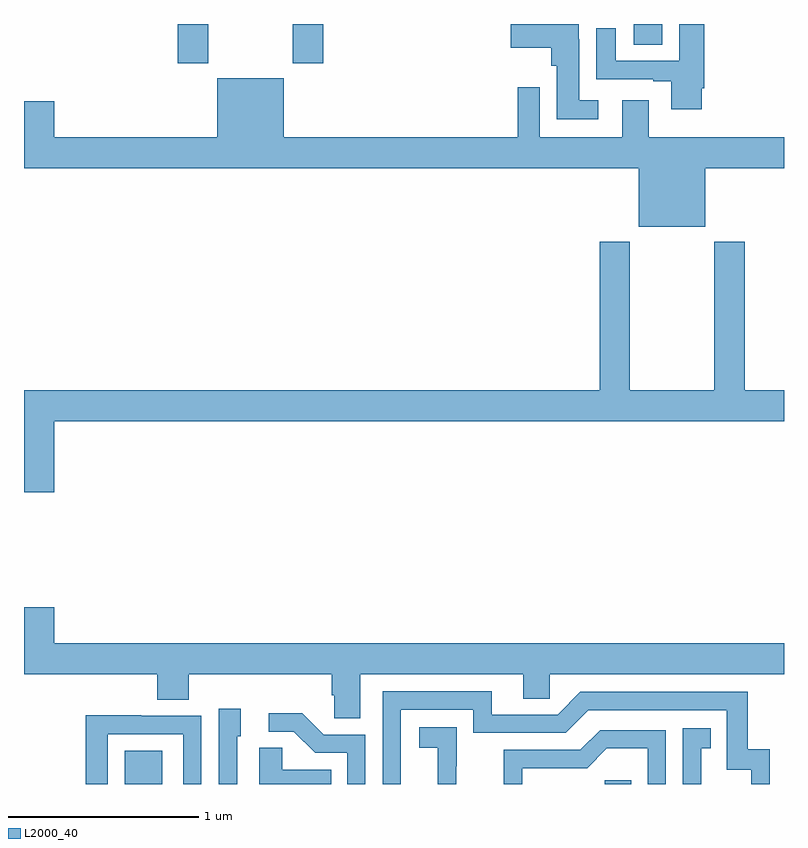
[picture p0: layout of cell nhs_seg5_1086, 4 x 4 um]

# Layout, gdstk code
import gdstk
lib = gdstk.Library(unit=1e-6, precision=1e-09)
def R(c, l, rs):  # rectangles x0, y0, x1, y1
    for r in rs: c.add(gdstk.rectangle(r[:2], r[2:], *l))
def P(c, l, *ps):  # polygons
    for p in ps: c.add(gdstk.Polygon(p, *l))
L2000_40 = (2000, 40)

nhs_seg5_1086 = lib.new_cell('nhs_seg5_1086')
R(nhs_seg5_1086, L2000_40, [(177.53,906.799,177.727,906.973), (180.057,906.799,180.197,906.819), (177.809,910.593,177.969,910.799), (178.414,910.593,178.574,910.799), (180.209,910.69,180.358,910.799)])
P(nhs_seg5_1086, L2000_40, [(180.022,910.399),(179.923,910.399),(179.923,910.718),(179.919,910.718),(179.919,910.799),(179.562,910.799),(179.562,910.673),(179.774,910.673),(179.774,910.578),(179.804,910.578),(179.804,910.298),(180.022,910.298)],
  [(180.568,910.462),(180.581,910.462),(180.581,910.799),(180.449,910.799),(180.449,910.605),(180.115,910.605),(180.115,910.777),(180.011,910.777),(180.011,910.509),(180.311,910.509),(180.311,910.497),(180.407,910.497),(180.407,910.35),(180.568,910.35)],
  [(177,910.393),(177,910.04),(180.236,910.04),(180.236,909.731),(180.586,909.731),(180.586,910.04),(181,910.04),(181,910.204),(180.289,910.204),(180.289,910.399),(180.149,910.399),(180.149,910.204),(179.715,910.204),(179.715,910.465),(179.599,910.465),(179.599,910.204),(178.366,910.204),(178.366,910.513),(178.016,910.513),(178.016,910.204),(177.16,910.204),(177.16,910.393)],
  [(177.16,908.708),(181,908.708),(181,908.872),(180.794,908.872),(180.794,909.652),(180.634,909.652),(180.634,908.872),(180.189,908.872),(180.189,909.652),(180.029,909.652),(180.029,908.872),(177,908.872),(177,908.334),(177.16,908.334)],
  [(178.771,907.376),(179.627,907.376),(179.627,907.249),(179.766,907.249),(179.766,907.376),(181,907.376),(181,907.54),(177.16,907.54),(177.16,907.729),(177,907.729),(177,907.376),(177.701,907.376),(177.701,907.243),(177.866,907.243),(177.866,907.376),(178.619,907.376),(178.619,907.267),(178.632,907.267),(178.632,907.144),(178.771,907.144)],
  [(178.983,907.191),(179.364,907.191),(179.364,907.068),(179.85,907.068),(179.97,907.188),(180.699,907.188),(180.699,906.873),(180.828,906.873),(180.828,906.799),(180.926,906.799),(180.926,906.982),(180.808,906.982),(180.808,907.284),(179.928,907.284),(179.808,907.164),(179.461,907.164),(179.461,907.287),(178.887,907.287),(178.887,906.799),(178.983,906.799)],
  [(178.122,907.05),(178.141,907.05),(178.141,907.195),(178.026,907.195),(178.026,906.799),(178.122,906.799)],
  [(178.797,907.059),(178.578,907.059),(178.465,907.172),(178.287,907.172),(178.287,907.074),(178.421,907.074),(178.532,906.963),(178.701,906.963),(178.701,906.799),(178.797,906.799)],
  [(177.441,907.062),(177.837,907.062),(177.837,906.799),(177.933,906.799),(177.933,907.158),(177.617,907.158),(177.617,907.16),(177.325,907.16),(177.325,906.799),(177.441,906.799)],
  [(179.276,906.893),(179.277,906.893),(179.277,907.099),(179.079,907.099),(179.079,906.989),(179.177,906.989),(179.177,906.799),(179.276,906.799)],
  [(180.565,906.987),(180.614,906.987),(180.614,907.093),(180.468,907.093),(180.468,906.799),(180.565,906.799)],
  [(179.622,906.882),(179.964,906.882),(180.068,906.986),(180.282,906.986),(180.282,906.799),(180.378,906.799),(180.378,907.083),(180.032,907.083),(179.927,906.978),(179.524,906.978),(179.524,906.799),(179.622,906.799)],
  [(178.616,906.874),(178.359,906.874),(178.359,906.989),(178.238,906.989),(178.238,906.799),(178.616,906.799)])

lib.write_gds('nhs_seg5_1086.gds')
